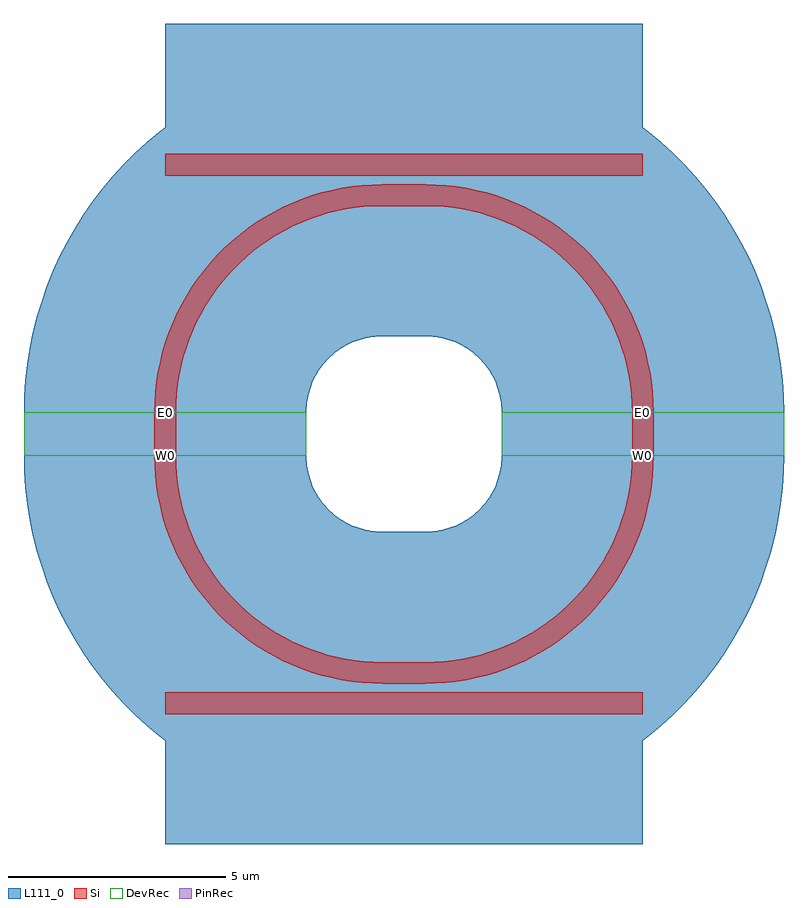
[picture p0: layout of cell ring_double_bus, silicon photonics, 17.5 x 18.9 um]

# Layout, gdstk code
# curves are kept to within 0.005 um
import gdstk
lib = gdstk.Library(unit=1e-6, precision=1e-09)
def R(c, l, rs):  # rectangles x0, y0, x1, y1
    for r in rs: c.add(gdstk.rectangle(r[:2], r[2:], *l))
def P(c, l, *ps):  # polygons
    for p in ps: c.add(gdstk.Polygon(p, *l))
Si = (1, 0)
PinRec = (1, 10)
DevRec = (68, 0)
L111_0 = (111, 0)

ring_double_bus = lib.new_cell('ring_double_bus')
R(ring_double_bus, Si, [(-5,-0.6,0,-0.1), (0,-0.6,1,-0.1), (1,-0.6,6,-0.1), (0,0.1,1,0.6), (-5.25,5.35,-4.75,6.35), (5.75,5.35,6.25,6.35), (0,11.1,1,11.6), (-5,11.8,0,12.3), (0,11.8,1,12.3), (1,11.8,6,12.3)])
P(ring_double_bus, Si, [(-4.75,5.35),(-4.731,4.924),(-4.674,4.502),(-4.579,4.086),(-4.518,3.882),(-4.447,3.681),(-4.28,3.289),(-4.078,2.914),(-3.843,2.558),(-3.714,2.388),(-3.577,2.225),(-3.283,1.917),(-2.962,1.636),(-2.792,1.507),(-2.436,1.272),(-2.061,1.07),(-1.867,0.982),(-1.468,0.832),(-1.057,0.719),(-0.848,0.676),(-0.426,0.619),(0,0.6),(0,0.1),(-0.236,0.105),(-0.471,0.121),(-0.937,0.184),(-1.397,0.289),(-1.622,0.357),(-1.845,0.435),(-2.063,0.522),(-2.278,0.62),(-2.488,0.727),(-2.693,0.843),(-2.892,0.968),(-3.086,1.103),(-3.273,1.245),(-3.454,1.396),(-3.628,1.555),(-3.795,1.722),(-3.954,1.896),(-4.105,2.077),(-4.382,2.458),(-4.507,2.657),(-4.623,2.862),(-4.73,3.072),(-4.828,3.287),(-4.915,3.505),(-4.993,3.728),(-5.061,3.953),(-5.118,4.182),(-5.166,4.413),(-5.229,4.879),(-5.245,5.114),(-5.25,5.35)],
  [(5.75,5.35),(5.731,4.924),(5.674,4.502),(5.579,4.086),(5.518,3.882),(5.447,3.681),(5.28,3.289),(5.078,2.914),(4.843,2.558),(4.714,2.388),(4.577,2.225),(4.283,1.917),(3.962,1.636),(3.792,1.507),(3.436,1.272),(3.061,1.07),(2.867,0.982),(2.468,0.832),(2.057,0.719),(1.848,0.676),(1.426,0.619),(1,0.6),(1,0.1),(1.236,0.105),(1.471,0.121),(1.937,0.184),(2.397,0.289),(2.622,0.357),(2.845,0.435),(3.063,0.522),(3.278,0.62),(3.488,0.727),(3.693,0.843),(3.892,0.968),(4.086,1.103),(4.273,1.245),(4.454,1.396),(4.628,1.555),(4.795,1.722),(4.954,1.896),(5.105,2.077),(5.382,2.458),(5.507,2.657),(5.623,2.862),(5.73,3.072),(5.828,3.287),(5.915,3.505),(5.993,3.728),(6.061,3.953),(6.118,4.182),(6.166,4.413),(6.229,4.879),(6.245,5.114),(6.25,5.35)],
  [(-4.75,6.35),(-4.731,6.776),(-4.674,7.198),(-4.579,7.614),(-4.518,7.818),(-4.447,8.019),(-4.28,8.411),(-4.078,8.786),(-3.843,9.142),(-3.714,9.312),(-3.577,9.475),(-3.283,9.783),(-2.962,10.064),(-2.792,10.193),(-2.436,10.428),(-2.061,10.63),(-1.867,10.718),(-1.468,10.868),(-1.057,10.981),(-0.848,11.024),(-0.426,11.081),(0,11.1),(0,11.6),(-0.236,11.595),(-0.471,11.579),(-0.937,11.516),(-1.397,11.411),(-1.622,11.343),(-1.845,11.265),(-2.063,11.178),(-2.278,11.08),(-2.488,10.973),(-2.693,10.857),(-2.892,10.732),(-3.086,10.597),(-3.273,10.455),(-3.454,10.304),(-3.628,10.145),(-3.795,9.978),(-3.954,9.804),(-4.105,9.623),(-4.382,9.242),(-4.507,9.043),(-4.623,8.838),(-4.73,8.628),(-4.828,8.413),(-4.915,8.195),(-4.993,7.972),(-5.061,7.747),(-5.118,7.518),(-5.166,7.287),(-5.229,6.821),(-5.245,6.586),(-5.25,6.35)],
  [(5.75,6.35),(5.731,6.776),(5.674,7.198),(5.579,7.614),(5.518,7.818),(5.447,8.019),(5.28,8.411),(5.078,8.786),(4.843,9.142),(4.714,9.312),(4.577,9.475),(4.283,9.783),(3.962,10.064),(3.792,10.193),(3.436,10.428),(3.061,10.63),(2.867,10.718),(2.468,10.868),(2.057,10.981),(1.848,11.024),(1.426,11.081),(1,11.1),(1,11.6),(1.236,11.595),(1.471,11.579),(1.937,11.516),(2.397,11.411),(2.622,11.343),(2.845,11.265),(3.063,11.178),(3.278,11.08),(3.488,10.973),(3.693,10.857),(3.892,10.732),(4.086,10.597),(4.273,10.455),(4.454,10.304),(4.628,10.145),(4.795,9.978),(4.954,9.804),(5.105,9.623),(5.382,9.242),(5.507,9.043),(5.623,8.838),(5.73,8.628),(5.828,8.413),(5.915,8.195),(5.993,7.972),(6.061,7.747),(6.118,7.518),(6.166,7.287),(6.229,6.821),(6.245,6.586),(6.25,6.35)])
R(ring_double_bus, PinRec, [(-5.25,5.3,-4.75,5.4), (5.75,5.3,6.25,5.4), (-5.25,6.3,-4.75,6.4), (5.75,6.3,6.25,6.4)])
R(ring_double_bus, DevRec, [(-8.25,5.35,-1.75,6.35), (2.75,5.35,9.25,6.35)])
R(ring_double_bus, L111_0, [(-5,-3.6,0,2.9), (0,-3.6,1,3.6), (1,-3.6,6,2.9), (-8.25,5.35,-1.75,6.35), (2.75,5.35,9.25,6.35), (0,8.1,1,15.3), (-5,8.8,0,15.3), (1,8.8,6,15.3)])
P(ring_double_bus, L111_0, [(-1.75,5.35),(-1.743,5.193),(-1.722,5.038),(-1.687,4.884),(-1.609,4.662),(-1.541,4.521),(-1.461,4.386),(-1.368,4.259),(-1.265,4.141),(-1.151,4.032),(-1.029,3.934),(-0.898,3.848),(-0.688,3.741),(-0.466,3.663),(-0.312,3.628),(-0.157,3.607),(0,3.6),(0,-2.9),(-0.37,-2.892),(-0.74,-2.867),(-1.107,-2.825),(-1.473,-2.767),(-1.836,-2.693),(-2.195,-2.603),(-2.549,-2.496),(-2.899,-2.374),(-3.242,-2.236),(-3.58,-2.083),(-3.909,-1.915),(-4.231,-1.732),(-4.545,-1.535),(-4.849,-1.324),(-5.144,-1.1),(-5.428,-0.863),(-5.701,-0.613),(-5.963,-0.351),(-6.213,-0.078),(-6.45,0.206),(-6.674,0.501),(-6.885,0.805),(-7.082,1.119),(-7.265,1.441),(-7.433,1.77),(-7.586,2.108),(-7.724,2.451),(-7.846,2.801),(-7.953,3.155),(-8.043,3.514),(-8.117,3.877),(-8.175,4.243),(-8.217,4.61),(-8.242,4.98),(-8.25,5.35)],
  [(2.75,5.35),(2.743,5.193),(2.722,5.038),(2.687,4.884),(2.609,4.662),(2.541,4.521),(2.461,4.386),(2.368,4.259),(2.265,4.141),(2.151,4.032),(2.029,3.934),(1.898,3.848),(1.688,3.741),(1.466,3.663),(1.312,3.628),(1.157,3.607),(1,3.6),(1,-2.9),(1.37,-2.892),(1.74,-2.867),(2.107,-2.825),(2.473,-2.767),(2.836,-2.693),(3.195,-2.603),(3.549,-2.496),(3.899,-2.374),(4.242,-2.236),(4.58,-2.083),(4.909,-1.915),(5.231,-1.732),(5.545,-1.535),(5.849,-1.324),(6.144,-1.1),(6.428,-0.863),(6.701,-0.613),(6.963,-0.351),(7.213,-0.078),(7.45,0.206),(7.674,0.501),(7.885,0.805),(8.082,1.119),(8.265,1.441),(8.433,1.77),(8.586,2.108),(8.724,2.451),(8.846,2.801),(8.953,3.155),(9.043,3.514),(9.117,3.877),(9.175,4.243),(9.217,4.61),(9.242,4.98),(9.25,5.35)],
  [(-1.75,6.35),(-1.743,6.507),(-1.722,6.662),(-1.687,6.816),(-1.609,7.038),(-1.541,7.179),(-1.461,7.314),(-1.368,7.441),(-1.265,7.559),(-1.151,7.668),(-1.029,7.766),(-0.898,7.852),(-0.688,7.959),(-0.466,8.037),(-0.312,8.072),(-0.157,8.093),(0,8.1),(0,14.6),(-0.37,14.592),(-0.74,14.567),(-1.107,14.525),(-1.473,14.467),(-1.836,14.393),(-2.195,14.303),(-2.549,14.196),(-2.899,14.074),(-3.242,13.936),(-3.58,13.783),(-3.909,13.615),(-4.231,13.432),(-4.545,13.235),(-4.849,13.024),(-5.144,12.8),(-5.428,12.563),(-5.701,12.313),(-5.963,12.051),(-6.213,11.778),(-6.45,11.494),(-6.674,11.199),(-6.885,10.895),(-7.082,10.581),(-7.265,10.259),(-7.433,9.93),(-7.586,9.592),(-7.724,9.249),(-7.846,8.899),(-7.953,8.545),(-8.043,8.186),(-8.117,7.823),(-8.175,7.457),(-8.217,7.09),(-8.242,6.72),(-8.25,6.35)],
  [(2.75,6.35),(2.743,6.507),(2.722,6.662),(2.687,6.816),(2.609,7.038),(2.541,7.179),(2.461,7.314),(2.368,7.441),(2.265,7.559),(2.151,7.668),(2.029,7.766),(1.898,7.852),(1.688,7.959),(1.466,8.037),(1.312,8.072),(1.157,8.093),(1,8.1),(1,14.6),(1.37,14.592),(1.74,14.567),(2.107,14.525),(2.473,14.467),(2.836,14.393),(3.195,14.303),(3.549,14.196),(3.899,14.074),(4.242,13.936),(4.58,13.783),(4.909,13.615),(5.231,13.432),(5.545,13.235),(5.849,13.024),(6.144,12.8),(6.428,12.563),(6.701,12.313),(6.963,12.051),(7.213,11.778),(7.45,11.494),(7.674,11.199),(7.885,10.895),(8.082,10.581),(8.265,10.259),(8.433,9.93),(8.586,9.592),(8.724,9.249),(8.846,8.899),(8.953,8.545),(9.043,8.186),(9.117,7.823),(9.175,7.457),(9.217,7.09),(9.242,6.72),(9.25,6.35)])
ring_double_bus.add(gdstk.Label('W0', (-5,5.35), layer=1, texttype=10))
ring_double_bus.add(gdstk.Label('E0', (-5,6.35), layer=1, texttype=10))
ring_double_bus.add(gdstk.Label('W0', (6,5.35), layer=1, texttype=10))
ring_double_bus.add(gdstk.Label('E0', (6,6.35), layer=1, texttype=10))

lib.write_gds('ring_double_bus.gds')
